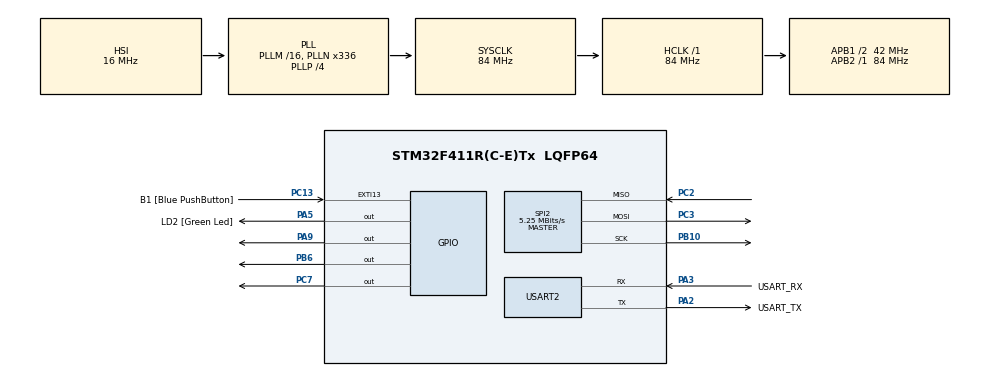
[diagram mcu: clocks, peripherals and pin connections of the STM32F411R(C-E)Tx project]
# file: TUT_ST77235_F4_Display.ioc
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Mcu.Family=STM32F4
Mcu.Name=STM32F411R(C-E)Tx
Mcu.Package=LQFP64
NVIC.PriorityGroup=NVIC_PRIORITYGROUP_0
PA13.GPIO_Label=TMS
PA13.Mode=Serial_Wire
PA13.Signal=SYS_JTMS-SWDIO
PA14.GPIO_Label=TCK
PA14.Mode=Serial_Wire
PA14.Signal=SYS_JTCK-SWCLK
PA2.GPIO_Label=USART_TX
PA2.Mode=Asynchronous
PA2.Signal=USART2_TX
PA3.GPIO_Label=USART_RX
PA3.Mode=Asynchronous
PA3.Signal=USART2_RX
PA5.GPIO_Label=LD2 [Green Led]
PA5.Signal=GPIO_Output
PA9.Signal=GPIO_Output
PB10.Mode=Full_Duplex_Master
PB10.Signal=SPI2_SCK
PB3.GPIO_Label=SWO
PB3.Signal=SYS_JTDO-SWO
PB6.Signal=GPIO_Output
PC13-ANTI_TAMP.GPIO_Label=B1 [Blue PushButton]
PC13-ANTI_TAMP.GPIO_ModeDefaultEXTI=GPIO_MODE_IT_FALLING
PC13-ANTI_TAMP.Signal=GPXTI13
PC14-OSC32_IN.Mode=LSE-External-Oscillator
PC14-OSC32_IN.Signal=RCC_OSC32_IN
PC15-OSC32_OUT.Mode=LSE-External-Oscillator
PC15-OSC32_OUT.Signal=RCC_OSC32_OUT
PC2.Mode=Full_Duplex_Master
PC2.Signal=SPI2_MISO
PC3.Mode=Full_Duplex_Master
PC3.Signal=SPI2_MOSI
PC7.Signal=GPIO_Output
PH0\ -\ OSC_IN.Mode=HSE-External-Clock-Source
PH0\ -\ OSC_IN.Signal=RCC_OSC_IN
PH1\ -\ OSC_OUT.Mode=HSE-External-Clock-Source
PH1\ -\ OSC_OUT.Signal=RCC_OSC_OUT
ProjectManager.HeapSize=0x200
ProjectManager.StackSize=0x400
ProjectManager.TargetToolchain=STM32CubeIDE
RCC.48MHZClocksFreq_Value=84000000
RCC.AHBFreq_Value=84000000
RCC.APB1CLKDivider=RCC_HCLK_DIV2
RCC.APB1Freq_Value=42000000
RCC.APB1TimFreq_Value=84000000
RCC.APB2Freq_Value=84000000
RCC.APB2TimFreq_Value=84000000
RCC.CortexFreq_Value=84000000
RCC.FLatency-AdvancedSettings=FLASH_LATENCY_2
RCC.HCLKFreq_Value=84000000
RCC.HSE_VALUE=8000000
RCC.HSI_VALUE=16000000
RCC.PLLN=336
RCC.PLLP=RCC_PLLP_DIV4
RCC.SYSCLKFreq_VALUE=84000000
RCC.SYSCLKSource=RCC_SYSCLKSOURCE_PLLCLK
RCC.VCOOutputFreq_Value=336000000
SPI2.BaudRatePrescaler=SPI_BAUDRATEPRESCALER_8
SPI2.CalculateBaudRate=5.25 MBits/s
SPI2.Direction=SPI_DIRECTION_2LINES
SPI2.Mode=SPI_MODE_MASTER
SPI2.VirtualType=VM_MASTER
USART2.VirtualMode=VM_ASYNC
board=NUCLEO-F411RE

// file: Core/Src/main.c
/* USER CODE BEGIN Header */
/**
  ******************************************************************************
  * @file           : main.c
  * @brief          : Main program body
  ******************************************************************************
  * @attention
  *
  * Copyright (c) 2025 STMicroelectronics.
  * All rights reserved.
  *
  * This software is licensed under terms that can be found in the LICENSE file
  * in the root directory of this software component.
  * If no LICENSE file comes with this software, it is provided AS-IS.
  *
  ******************************************************************************
  */
/* USER CODE END Header */
#include "main.h"

/* USER CODE BEGIN Includes */
#include <string.h>
#include <stdio.h>
#include "GFX_FUNCTIONS.h"
#include "ST7735.h"
/* USER CODE END Includes */

SPI_HandleTypeDef hspi2;

UART_HandleTypeDef huart2;

void SystemClock_Config(void);
static void MX_GPIO_Init(void);
static void MX_USART2_UART_Init(void);
static void MX_SPI2_Init(void);

/* USER CODE BEGIN 0 */
int __io_putchar(int ch)
{
	HAL_UART_Transmit(&huart2, (uint8_t*)&ch, 1, 10);
	return ch;
}
void drawHeart(int x, int y, uint16_t color);
void drawBigHeart(int x, int y, uint16_t color)
{
    // Row 1
    ST7735_DrawPixel(x+2, y, color);
    ST7735_DrawPixel(x+3, y, color);
    ST7735_DrawPixel(x+7, y, color);
    ST7735_DrawPixel(x+8, y, color);

    // Row 2
    for (int i = 1; i <= 4; i++) ST7735_DrawPixel(x+i, y+1, color);
    for (int i = 6; i <= 9; i++) ST7735_DrawPixel(x+i, y+1, color);

    // Row 3
    for (int i = 0; i <= 10; i++) ST7735_DrawPixel(x+i, y+2, color);

    // Row 4
    for (int i = 1; i <= 9; i++) ST7735_DrawPixel(x+i, y+3, color);

    // Row 5
    for (int i = 2; i <= 8; i++) ST7735_DrawPixel(x+i, y+4, color);

    // Row 6
    for (int i = 3; i <= 7; i++) ST7735_DrawPixel(x+i, y+5, color);

    // Row 7
    ST7735_DrawPixel(x+5, y+6, color);
}

/* USER CODE END 0 */

int main(void)
{

  /* MCU Configuration--------------------------------------------------------*/

  /* Reset of all peripherals, Initializes the Flash interface and the Systick. */
  HAL_Init();

  /* Configure the system clock */
  SystemClock_Config();

  /* Initialize all configured peripherals */
  MX_GPIO_Init();
  MX_USART2_UART_Init();
  MX_SPI2_Init();
  /* USER CODE BEGIN 2 */
  printf("starting ..\r\n");
  ST7735_Init(90);
  fillScreen(BLACK);
  ST7735_WriteString(10, 20, "Sal7af", Font_11x18, RED, BLACK);
  ST7735_WriteString(10, 100, "Sal7ofa", Font_11x18, GREEN, BLACK);

  //testAll();
  /* USER CODE END 2 */

  /* Infinite loop */
  /* USER CODE BEGIN WHILE */
  while (1)
  {
	  for (int y = 40; y <= 80; y += 7)
	  {
		  drawBigHeart(50, y, RED);
		  HAL_Delay(250);
		  ST7735_FillRectangle(50, y, 11, 8, BLACK);
	  }

	  HAL_Delay(1000); // Pause before restarting

    /* USER CODE END WHILE */

  }
}

void SystemClock_Config(void)
{
  RCC_OscInitTypeDef RCC_OscInitStruct = {0};
  RCC_ClkInitTypeDef RCC_ClkInitStruct = {0};

  /** Configure the main internal regulator output voltage
  */
  __HAL_RCC_PWR_CLK_ENABLE();
  __HAL_PWR_VOLTAGESCALING_CONFIG(PWR_REGULATOR_VOLTAGE_SCALE1);

  /** Initializes the RCC Oscillators according to the specified parameters
  * in the RCC_OscInitTypeDef structure.
  */
  RCC_OscInitStruct.OscillatorType = RCC_OSCILLATORTYPE_HSI;
  RCC_OscInitStruct.HSIState = RCC_HSI_ON;
  RCC_OscInitStruct.HSICalibrationValue = RCC_HSICALIBRATION_DEFAULT;
  RCC_OscInitStruct.PLL.PLLState = RCC_PLL_ON;
  RCC_OscInitStruct.PLL.PLLSource = RCC_PLLSOURCE_HSI;
  RCC_OscInitStruct.PLL.PLLM = 16;
  RCC_OscInitStruct.PLL.PLLN = 336;
  RCC_OscInitStruct.PLL.PLLP = RCC_PLLP_DIV4;
  RCC_OscInitStruct.PLL.PLLQ = 4;
  if (HAL_RCC_OscConfig(&RCC_OscInitStruct) != HAL_OK)
  {
    Error_Handler();
  }

  /** Initializes the CPU, AHB and APB buses clocks
  */
  RCC_ClkInitStruct.ClockType = RCC_CLOCKTYPE_HCLK|RCC_CLOCKTYPE_SYSCLK
                              |RCC_CLOCKTYPE_PCLK1|RCC_CLOCKTYPE_PCLK2;
  RCC_ClkInitStruct.SYSCLKSource = RCC_SYSCLKSOURCE_PLLCLK;
  RCC_ClkInitStruct.AHBCLKDivider = RCC_SYSCLK_DIV1;
  RCC_ClkInitStruct.APB1CLKDivider = RCC_HCLK_DIV2;
  RCC_ClkInitStruct.APB2CLKDivider = RCC_HCLK_DIV1;

  if (HAL_RCC_ClockConfig(&RCC_ClkInitStruct, FLASH_LATENCY_2) != HAL_OK)
  {
    Error_Handler();
  }
}

static void MX_SPI2_Init(void)
{

  /* SPI2 parameter configuration*/
  hspi2.Instance = SPI2;
  hspi2.Init.Mode = SPI_MODE_MASTER;
  hspi2.Init.Direction = SPI_DIRECTION_2LINES;
  hspi2.Init.DataSize = SPI_DATASIZE_8BIT;
  hspi2.Init.CLKPolarity = SPI_POLARITY_LOW;
  hspi2.Init.CLKPhase = SPI_PHASE_1EDGE;
  hspi2.Init.NSS = SPI_NSS_SOFT;
  hspi2.Init.BaudRatePrescaler = SPI_BAUDRATEPRESCALER_8;
  hspi2.Init.FirstBit = SPI_FIRSTBIT_MSB;
  hspi2.Init.TIMode = SPI_TIMODE_DISABLE;
  hspi2.Init.CRCCalculation = SPI_CRCCALCULATION_DISABLE;
  hspi2.Init.CRCPolynomial = 10;
  if (HAL_SPI_Init(&hspi2) != HAL_OK)
  {
    Error_Handler();
  }

}

static void MX_USART2_UART_Init(void)
{

  huart2.Instance = USART2;
  huart2.Init.BaudRate = 115200;
  huart2.Init.WordLength = UART_WORDLENGTH_8B;
  huart2.Init.StopBits = UART_STOPBITS_1;
  huart2.Init.Parity = UART_PARITY_NONE;
  huart2.Init.Mode = UART_MODE_TX_RX;
  huart2.Init.HwFlowCtl = UART_HWCONTROL_NONE;
  huart2.Init.OverSampling = UART_OVERSAMPLING_16;
  if (HAL_UART_Init(&huart2) != HAL_OK)
  {
    Error_Handler();
  }

}

static void MX_GPIO_Init(void)
{
  GPIO_InitTypeDef GPIO_InitStruct = {0};

  /* GPIO Ports Clock Enable */
  __HAL_RCC_GPIOC_CLK_ENABLE();
  __HAL_RCC_GPIOH_CLK_ENABLE();
  __HAL_RCC_GPIOA_CLK_ENABLE();
  __HAL_RCC_GPIOB_CLK_ENABLE();

  /*Configure GPIO pin Output Level */
  HAL_GPIO_WritePin(GPIOA, LD2_Pin|GPIO_PIN_9, GPIO_PIN_RESET);

  /*Configure GPIO pin Output Level */
  HAL_GPIO_WritePin(GPIOC, GPIO_PIN_7, GPIO_PIN_RESET);

  /*Configure GPIO pin Output Level */
  HAL_GPIO_WritePin(GPIOB, GPIO_PIN_6, GPIO_PIN_RESET);

  /*Configure GPIO pin : B1_Pin */
  GPIO_InitStruct.Pin = B1_Pin;
  GPIO_InitStruct.Mode = GPIO_MODE_IT_FALLING;
  GPIO_InitStruct.Pull = GPIO_NOPULL;
  HAL_GPIO_Init(B1_GPIO_Port, &GPIO_InitStruct);

  /*Configure GPIO pins : LD2_Pin PA9 */
  GPIO_InitStruct.Pin = LD2_Pin|GPIO_PIN_9;
  GPIO_InitStruct.Mode = GPIO_MODE_OUTPUT_PP;
  GPIO_InitStruct.Pull = GPIO_NOPULL;
  GPIO_InitStruct.Speed = GPIO_SPEED_FREQ_LOW;
  HAL_GPIO_Init(GPIOA, &GPIO_InitStruct);

  /*Configure GPIO pin : PC7 */
  GPIO_InitStruct.Pin = GPIO_PIN_7;
  GPIO_InitStruct.Mode = GPIO_MODE_OUTPUT_PP;
  GPIO_InitStruct.Pull = GPIO_NOPULL;
  GPIO_InitStruct.Speed = GPIO_SPEED_FREQ_LOW;
  HAL_GPIO_Init(GPIOC, &GPIO_InitStruct);

  /*Configure GPIO pin : PB6 */
  GPIO_InitStruct.Pin = GPIO_PIN_6;
  GPIO_InitStruct.Mode = GPIO_MODE_OUTPUT_PP;
  GPIO_InitStruct.Pull = GPIO_NOPULL;
  GPIO_InitStruct.Speed = GPIO_SPEED_FREQ_LOW;
  HAL_GPIO_Init(GPIOB, &GPIO_InitStruct);

}

/* USER CODE BEGIN 4 */
void drawHeart(int x, int y, uint16_t color) {
    // Top curves
    ST7735_DrawPixel(x+1, y, color);
    ST7735_DrawPixel(x+2, y, color);
    ST7735_DrawPixel(x+4, y, color);
    ST7735_DrawPixel(x+5, y, color);

    // Middle layer
    for (int i = 0; i < 6; i++) ST7735_DrawPixel(x+i, y+1, color);

    // Lower layers
    for (int i = 1; i < 5; i++) ST7735_DrawPixel(x+i, y+2, color);
    for (int i = 2; i < 4; i++) ST7735_DrawPixel(x+i, y+3, color);
    ST7735_DrawPixel(x+3, y+4, color);
}

/* USER CODE END 4 */

void Error_Handler(void)
{
  /* USER CODE BEGIN Error_Handler_Debug */
  /* User can add his own implementation to report the HAL error return state */
  printf("Entered Error_Handler\r\n");

  __disable_irq();

  while (1)
  {
  }
  /* USER CODE END Error_Handler_Debug */
}
